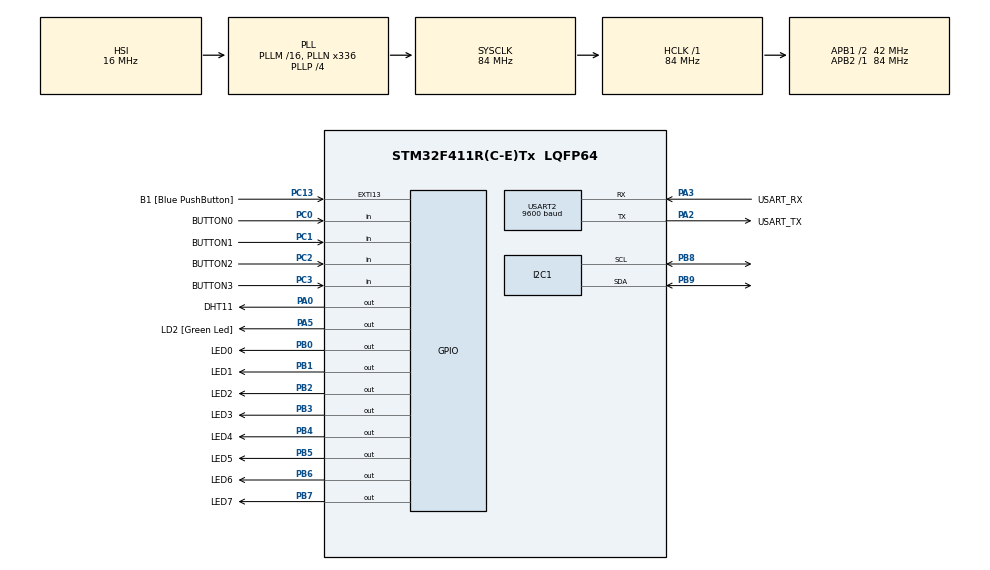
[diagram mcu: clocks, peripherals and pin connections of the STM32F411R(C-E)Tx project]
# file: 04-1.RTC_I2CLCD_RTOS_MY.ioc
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FREERTOS.Tasks01=defaultTask,24,128,StartDefaultTask,Default,NULL,Dynamic,NULL,NULL;myTask01,8,128,StartTask01,Default,NULL,Dynamic,NULL,NULL;myTask02,8,128,StartTask02,Default,NULL,Dynamic,NULL,NULL
FREERTOS.configUSE_NEWLIB_REENTRANT=1
Mcu.Family=STM32F4
Mcu.Name=STM32F411R(C-E)Tx
Mcu.Package=LQFP64
NVIC.PriorityGroup=NVIC_PRIORITYGROUP_4
NVIC.TIM1_TRG_COM_TIM11_IRQn=true\:5\:0\:false\:false\:true\:false\:false\:true
NVIC.TIM1_UP_TIM10_IRQn=true\:5\:0\:false\:false\:true\:true\:true\:true
NVIC.TimeBase=TIM1_TRG_COM_TIM11_IRQn
NVIC.TimeBaseIP=TIM11
NVIC.USART2_IRQn=true\:5\:0\:false\:false\:true\:true\:true\:true
PA0-WKUP.GPIO_Label=DHT11
PA0-WKUP.Signal=GPIO_Output
PA13.GPIO_Label=TMS
PA13.Mode=Serial_Wire
PA13.Signal=SYS_JTMS-SWDIO
PA14.GPIO_Label=TCK
PA14.Mode=Serial_Wire
PA14.Signal=SYS_JTCK-SWCLK
PA2.GPIO_Label=USART_TX
PA2.Mode=Asynchronous
PA2.Signal=USART2_TX
PA3.GPIO_Label=USART_RX
PA3.Mode=Asynchronous
PA3.Signal=USART2_RX
PA5.GPIO_Label=LD2 [Green Led]
PA5.Signal=GPIO_Output
PB0.GPIO_Label=LED0
PB0.Signal=GPIO_Output
PB1.GPIO_Label=LED1
PB1.Signal=GPIO_Output
PB2.GPIO_Label=LED2
PB2.Signal=GPIO_Output
PB3.GPIO_Label=LED3
PB3.Signal=GPIO_Output
PB4.GPIO_Label=LED4
PB4.Signal=GPIO_Output
PB5.GPIO_Label=LED5
PB5.Signal=GPIO_Output
PB6.GPIO_Label=LED6
PB6.Signal=GPIO_Output
PB7.GPIO_Label=LED7
PB7.Signal=GPIO_Output
PB8.Mode=I2C
PB8.Signal=I2C1_SCL
PB9.Mode=I2C
PB9.Signal=I2C1_SDA
PC0.GPIO_Label=BUTTON0
PC0.Signal=GPIO_Input
PC1.GPIO_Label=BUTTON1
PC1.Signal=GPIO_Input
PC13-ANTI_TAMP.GPIO_Label=B1 [Blue PushButton]
PC13-ANTI_TAMP.GPIO_ModeDefaultEXTI=GPIO_MODE_IT_FALLING
PC13-ANTI_TAMP.Signal=GPXTI13
PC14-OSC32_IN.Mode=LSE-External-Oscillator
PC14-OSC32_IN.Signal=RCC_OSC32_IN
PC15-OSC32_OUT.Mode=LSE-External-Oscillator
PC15-OSC32_OUT.Signal=RCC_OSC32_OUT
PC2.GPIO_Label=BUTTON2
PC2.Signal=GPIO_Input
PC3.GPIO_Label=BUTTON3
PC3.Signal=GPIO_Input
PH0\ -\ OSC_IN.Mode=HSE-External-Clock-Source
PH0\ -\ OSC_IN.Signal=RCC_OSC_IN
PH1\ -\ OSC_OUT.Mode=HSE-External-Clock-Source
PH1\ -\ OSC_OUT.Signal=RCC_OSC_OUT
ProjectManager.HeapSize=0x200
ProjectManager.StackSize=0x400
ProjectManager.TargetToolchain=STM32CubeIDE
RCC.48MHZClocksFreq_Value=84000000
RCC.AHBFreq_Value=84000000
RCC.APB1CLKDivider=RCC_HCLK_DIV2
RCC.APB1Freq_Value=42000000
RCC.APB1TimFreq_Value=84000000
RCC.APB2Freq_Value=84000000
RCC.APB2TimFreq_Value=84000000
RCC.CortexFreq_Value=84000000
RCC.FLatency-AdvancedSettings=FLASH_LATENCY_2
RCC.HCLKFreq_Value=84000000
RCC.HSE_VALUE=8000000
RCC.HSI_VALUE=16000000
RCC.PLLN=336
RCC.PLLP=RCC_PLLP_DIV4
RCC.SYSCLKFreq_VALUE=84000000
RCC.SYSCLKSource=RCC_SYSCLKSOURCE_PLLCLK
RCC.VCOOutputFreq_Value=336000000
RTC.Date=8
RTC.Hours=14
RTC.Minutes=37
RTC.Month=RTC_MONTH_OCTOBER
RTC.WeekDay=RTC_WEEKDAY_TUESDAY
RTC.Year=24
TIM10.Period=1000-1
TIM10.Prescaler=84-1
TIM2.Period=4294967295
TIM2.Prescaler=84-1
USART2.BaudRate=9600
USART2.VirtualMode=VM_ASYNC
VP_FREERTOS_VS_CMSIS_V2.Mode=CMSIS_V2
VP_RTC_VS_RTC_Activate.Mode=RTC_Enabled
VP_RTC_VS_RTC_Calendar.Mode=RTC_Calendar
VP_SYS_VS_tim11.Mode=TIM11
VP_TIM10_VS_ClockSourceINT.Mode=Enable_Timer
VP_TIM2_VS_ClockSourceINT.Mode=Internal
board=NUCLEO-F411RE

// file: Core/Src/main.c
/* USER CODE BEGIN Header */
/**
  ******************************************************************************
  * @file           : main.c
  * @brief          : Main program body
  ******************************************************************************
  * @attention
  *
  * <h2><center>&copy; Copyright (c) 2024 STMicroelectronics.
  * All rights reserved.</center></h2>
  *
  * This software component is licensed by ST under BSD 3-Clause license,
  * the "License"; You may not use this file except in compliance with the
  * License. You may obtain a copy of the License at:
  *                        opensource.org/licenses/BSD-3-Clause
  *
  ******************************************************************************
  */
/* USER CODE END Header */
#include "main.h"
#include "cmsis_os.h"

I2C_HandleTypeDef hi2c1;

RTC_HandleTypeDef hrtc;

TIM_HandleTypeDef htim2;
TIM_HandleTypeDef htim10;

UART_HandleTypeDef huart2;

/* Definitions for defaultTask */
osThreadId_t defaultTaskHandle;
const osThreadAttr_t defaultTask_attributes = {
  .name = "defaultTask",
  .stack_size = 128 * 4,
  .priority = (osPriority_t) osPriorityNormal,
};
/* Definitions for myTask01 */
osThreadId_t myTask01Handle;
const osThreadAttr_t myTask01_attributes = {
  .name = "myTask01",
  .stack_size = 128 * 4,
  .priority = (osPriority_t) osPriorityLow,
};
/* Definitions for myTask02 */
osThreadId_t myTask02Handle;
const osThreadAttr_t myTask02_attributes = {
  .name = "myTask02",
  .stack_size = 128 * 4,
  .priority = (osPriority_t) osPriorityLow,
};
/* USER CODE BEGIN PV */
volatile int TIM10_1ms_counter = 0; //ADD_HAESUNG_09.30
volatile int TIM10_1ms_counter1 = 0;
volatile int TIM10_DHT11_counter = 0; // 10.08
uint8_t rx_data;
/* USER CODE END PV */

void SystemClock_Config(void);
static void MX_GPIO_Init(void);
static void MX_USART2_UART_Init(void);
static void MX_TIM10_Init(void);
static void MX_TIM2_Init(void);
static void MX_RTC_Init(void);
static void MX_I2C1_Init(void);
void StartDefaultTask(void *argument);
void StartTask01(void *argument);
void StartTask02(void *argument);

/* USER CODE BEGIN PFP */
extern void led_main(void);
extern void ledbar0_toggle(void);
//extern void button_check(void);
extern void button_check2(void);
extern void button_up(void);
extern void button0_test(void);
extern void button1_test(void);
extern void button2_test(void);
extern void pc_command_processing(void); //10.07
extern void delay_us(unsigned int us); //10.08
extern void DHT11_main(void); //10.08
extern void DHT11_processing(void); //10.08
extern void DHT11_Init(void); //10.08
extern void get_rtc_date_time(void); //10.08
extern void i2c_lcd_main(void); //10.10
extern void i2c_lcd_init(void); //10.10
extern void get_rtc_date_time2(void);
extern void stopwatch(void);
/* USER CODE END PFP */

/* USER CODE BEGIN 0 */
//------------ printf start -----------------------
#ifdef __GNUC__    // Add for printf
/* With GCC, small printf (option LD Linker->Libraries->Small printf
   set to 'Yes') calls __io_putchar() */
#define PUTCHAR_PROTOTYPE int __io_putchar(int ch)
#else
#define PUTCHAR_PROTOTYPE int fputc(int ch, FILE *f)
#endif /* __GNUC__ */
/**
  * @brief  Retargets the C library printf function to the USART.
  * @param  None
  * @retval None
  */
PUTCHAR_PROTOTYPE   // Add for printf
{
  /* Place your implementation of fputc here */
  /* e.g. write a character to the USART2 and Loop until the end of transmission */
  HAL_UART_Transmit(&huart2, (uint8_t *)&ch, 1, 0xFFFF);

  return ch;
}
//-------------------- printf end --------------------
/* USER CODE END 0 */

int main(void)
{

  /* MCU Configuration--------------------------------------------------------*/

  /* Reset of all peripherals, Initializes the Flash interface and the Systick. */
  HAL_Init();

  /* Configure the system clock */
  SystemClock_Config();

  /* Initialize all configured peripherals */
  MX_GPIO_Init();
  MX_USART2_UART_Init();
  MX_TIM10_Init();
  MX_TIM2_Init();
  MX_RTC_Init();
  MX_I2C1_Init();
  /* USER CODE BEGIN 2 */
  HAL_TIM_Base_Start_IT(&htim10); //ADD_HAESUNG_0930
  HAL_TIM_Base_Start_IT(&htim2); //ADD_HAESUNG_1008
  HAL_UART_Receive_IT(&huart2, &rx_data, 1); //ADD_HAESUNG_1007
  DHT11_Init();
  i2c_lcd_init();
  //printf("HAL_TIM_Base_Start_IT !!!!\n");
  //DHT11_main(); //10.08
  //led_main();
  //i2c_lcd_main();
  /* USER CODE END 2 */

  /* Init scheduler */
  osKernelInitialize();

  /* Create the thread(s) */
  /* creation of defaultTask */
  defaultTaskHandle = osThreadNew(StartDefaultTask, NULL, &defaultTask_attributes);

  /* creation of myTask01 */
  myTask01Handle = osThreadNew(StartTask01, NULL, &myTask01_attributes);

  /* creation of myTask02 */
  myTask02Handle = osThreadNew(StartTask02, NULL, &myTask02_attributes);

  /* Start scheduler */
  osKernelStart();

  /* We should never get here as control is now taken by the scheduler */
  /* Infinite loop */
  /* USER CODE BEGIN WHILE */
  while (1)
  {
	  // none-OS loop monitor
	  HAL_GPIO_TogglePin(GPIOA, GPIO_PIN_5);
	  HAL_Delay(500);
    /* USER CODE END WHILE */

  }
}

void SystemClock_Config(void)
{
  RCC_OscInitTypeDef RCC_OscInitStruct = {0};
  RCC_ClkInitTypeDef RCC_ClkInitStruct = {0};

  /** Configure the main internal regulator output voltage
  */
  __HAL_RCC_PWR_CLK_ENABLE();
  __HAL_PWR_VOLTAGESCALING_CONFIG(PWR_REGULATOR_VOLTAGE_SCALE1);
  /** Initializes the RCC Oscillators according to the specified parameters
  * in the RCC_OscInitTypeDef structure.
  */
  RCC_OscInitStruct.OscillatorType = RCC_OSCILLATORTYPE_HSI|RCC_OSCILLATORTYPE_LSI;
  RCC_OscInitStruct.HSIState = RCC_HSI_ON;
  RCC_OscInitStruct.HSICalibrationValue = RCC_HSICALIBRATION_DEFAULT;
  RCC_OscInitStruct.LSIState = RCC_LSI_ON;
  RCC_OscInitStruct.PLL.PLLState = RCC_PLL_ON;
  RCC_OscInitStruct.PLL.PLLSource = RCC_PLLSOURCE_HSI;
  RCC_OscInitStruct.PLL.PLLM = 16;
  RCC_OscInitStruct.PLL.PLLN = 336;
  RCC_OscInitStruct.PLL.PLLP = RCC_PLLP_DIV4;
  RCC_OscInitStruct.PLL.PLLQ = 4;
  if (HAL_RCC_OscConfig(&RCC_OscInitStruct) != HAL_OK)
  {
    Error_Handler();
  }
  /** Initializes the CPU, AHB and APB buses clocks
  */
  RCC_ClkInitStruct.ClockType = RCC_CLOCKTYPE_HCLK|RCC_CLOCKTYPE_SYSCLK
                              |RCC_CLOCKTYPE_PCLK1|RCC_CLOCKTYPE_PCLK2;
  RCC_ClkInitStruct.SYSCLKSource = RCC_SYSCLKSOURCE_PLLCLK;
  RCC_ClkInitStruct.AHBCLKDivider = RCC_SYSCLK_DIV1;
  RCC_ClkInitStruct.APB1CLKDivider = RCC_HCLK_DIV2;
  RCC_ClkInitStruct.APB2CLKDivider = RCC_HCLK_DIV1;

  if (HAL_RCC_ClockConfig(&RCC_ClkInitStruct, FLASH_LATENCY_2) != HAL_OK)
  {
    Error_Handler();
  }
}

static void MX_I2C1_Init(void)
{

  hi2c1.Instance = I2C1;
  hi2c1.Init.ClockSpeed = 100000;
  hi2c1.Init.DutyCycle = I2C_DUTYCYCLE_2;
  hi2c1.Init.OwnAddress1 = 0;
  hi2c1.Init.AddressingMode = I2C_ADDRESSINGMODE_7BIT;
  hi2c1.Init.DualAddressMode = I2C_DUALADDRESS_DISABLE;
  hi2c1.Init.OwnAddress2 = 0;
  hi2c1.Init.GeneralCallMode = I2C_GENERALCALL_DISABLE;
  hi2c1.Init.NoStretchMode = I2C_NOSTRETCH_DISABLE;
  if (HAL_I2C_Init(&hi2c1) != HAL_OK)
  {
    Error_Handler();
  }

}

static void MX_RTC_Init(void)
{

  RTC_TimeTypeDef sTime = {0};
  RTC_DateTypeDef sDate = {0};

  /** Initialize RTC Only
  */
  hrtc.Instance = RTC;
  hrtc.Init.HourFormat = RTC_HOURFORMAT_24;
  hrtc.Init.AsynchPrediv = 127;
  hrtc.Init.SynchPrediv = 255;
  hrtc.Init.OutPut = RTC_OUTPUT_DISABLE;
  hrtc.Init.OutPutPolarity = RTC_OUTPUT_POLARITY_HIGH;
  hrtc.Init.OutPutType = RTC_OUTPUT_TYPE_OPENDRAIN;
  if (HAL_RTC_Init(&hrtc) != HAL_OK)
  {
    Error_Handler();
  }

  /** Initialize RTC and set the Time and Date
  */
  sTime.Hours = 0x14;
  sTime.Minutes = 0x37;
  sTime.Seconds = 0x0;
  sTime.DayLightSaving = RTC_DAYLIGHTSAVING_NONE;
  sTime.StoreOperation = RTC_STOREOPERATION_RESET;
  if (HAL_RTC_SetTime(&hrtc, &sTime, RTC_FORMAT_BCD) != HAL_OK)
  {
    Error_Handler();
  }
  sDate.WeekDay = RTC_WEEKDAY_TUESDAY;
  sDate.Month = RTC_MONTH_OCTOBER;
  sDate.Date = 0x8;
  sDate.Year = 0x24;

  if (HAL_RTC_SetDate(&hrtc, &sDate, RTC_FORMAT_BCD) != HAL_OK)
  {
    Error_Handler();
  }

}

static void MX_TIM2_Init(void)
{

  TIM_ClockConfigTypeDef sClockSourceConfig = {0};
  TIM_MasterConfigTypeDef sMasterConfig = {0};

  htim2.Instance = TIM2;
  htim2.Init.Prescaler = 84-1;
  htim2.Init.CounterMode = TIM_COUNTERMODE_UP;
  htim2.Init.Period = 4294967295;
  htim2.Init.ClockDivision = TIM_CLOCKDIVISION_DIV1;
  htim2.Init.AutoReloadPreload = TIM_AUTORELOAD_PRELOAD_DISABLE;
  if (HAL_TIM_Base_Init(&htim2) != HAL_OK)
  {
    Error_Handler();
  }
  sClockSourceConfig.ClockSource = TIM_CLOCKSOURCE_INTERNAL;
  if (HAL_TIM_ConfigClockSource(&htim2, &sClockSourceConfig) != HAL_OK)
  {
    Error_Handler();
  }
  sMasterConfig.MasterOutputTrigger = TIM_TRGO_RESET;
  sMasterConfig.MasterSlaveMode = TIM_MASTERSLAVEMODE_DISABLE;
  if (HAL_TIMEx_MasterConfigSynchronization(&htim2, &sMasterConfig) != HAL_OK)
  {
    Error_Handler();
  }

}

static void MX_TIM10_Init(void)
{

  htim10.Instance = TIM10;
  htim10.Init.Prescaler = 84-1;
  htim10.Init.CounterMode = TIM_COUNTERMODE_UP;
  htim10.Init.Period = 1000-1;
  htim10.Init.ClockDivision = TIM_CLOCKDIVISION_DIV1;
  htim10.Init.AutoReloadPreload = TIM_AUTORELOAD_PRELOAD_DISABLE;
  if (HAL_TIM_Base_Init(&htim10) != HAL_OK)
  {
    Error_Handler();
  }

}

static void MX_USART2_UART_Init(void)
{

  huart2.Instance = USART2;
  huart2.Init.BaudRate = 9600;
  huart2.Init.WordLength = UART_WORDLENGTH_8B;
  huart2.Init.StopBits = UART_STOPBITS_1;
  huart2.Init.Parity = UART_PARITY_NONE;
  huart2.Init.Mode = UART_MODE_TX_RX;
  huart2.Init.HwFlowCtl = UART_HWCONTROL_NONE;
  huart2.Init.OverSampling = UART_OVERSAMPLING_16;
  if (HAL_UART_Init(&huart2) != HAL_OK)
  {
    Error_Handler();
  }

}

static void MX_GPIO_Init(void)
{
  GPIO_InitTypeDef GPIO_InitStruct = {0};

  /* GPIO Ports Clock Enable */
  __HAL_RCC_GPIOC_CLK_ENABLE();
  __HAL_RCC_GPIOH_CLK_ENABLE();
  __HAL_RCC_GPIOA_CLK_ENABLE();
  __HAL_RCC_GPIOB_CLK_ENABLE();

  /*Configure GPIO pin Output Level */
  HAL_GPIO_WritePin(GPIOA, DHT11_Pin|LD2_Pin, GPIO_PIN_RESET);

  /*Configure GPIO pin Output Level */
  HAL_GPIO_WritePin(GPIOB, LED0_Pin|LED1_Pin|LED2_Pin|LED3_Pin
                          |LED4_Pin|LED5_Pin|LED6_Pin|LED7_Pin, GPIO_PIN_RESET);

  /*Configure GPIO pin : B1_Pin */
  GPIO_InitStruct.Pin = B1_Pin;
  GPIO_InitStruct.Mode = GPIO_MODE_IT_FALLING;
  GPIO_InitStruct.Pull = GPIO_NOPULL;
  HAL_GPIO_Init(B1_GPIO_Port, &GPIO_InitStruct);

  /*Configure GPIO pins : BUTTON0_Pin BUTTON1_Pin BUTTON2_Pin BUTTON3_Pin */
  GPIO_InitStruct.Pin = BUTTON0_Pin|BUTTON1_Pin|BUTTON2_Pin|BUTTON3_Pin;
  GPIO_InitStruct.Mode = GPIO_MODE_INPUT;
  GPIO_InitStruct.Pull = GPIO_NOPULL;
  HAL_GPIO_Init(GPIOC, &GPIO_InitStruct);

  /*Configure GPIO pins : DHT11_Pin LD2_Pin */
  GPIO_InitStruct.Pin = DHT11_Pin|LD2_Pin;
  GPIO_InitStruct.Mode = GPIO_MODE_OUTPUT_PP;
  GPIO_InitStruct.Pull = GPIO_NOPULL;
  GPIO_InitStruct.Speed = GPIO_SPEED_FREQ_LOW;
  HAL_GPIO_Init(GPIOA, &GPIO_InitStruct);

  /*Configure GPIO pins : LED0_Pin LED1_Pin LED2_Pin LED3_Pin
                           LED4_Pin LED5_Pin LED6_Pin LED7_Pin */
  GPIO_InitStruct.Pin = LED0_Pin|LED1_Pin|LED2_Pin|LED3_Pin
                          |LED4_Pin|LED5_Pin|LED6_Pin|LED7_Pin;
  GPIO_InitStruct.Mode = GPIO_MODE_OUTPUT_PP;
  GPIO_InitStruct.Pull = GPIO_NOPULL;
  GPIO_InitStruct.Speed = GPIO_SPEED_FREQ_LOW;
  HAL_GPIO_Init(GPIOB, &GPIO_InitStruct);

}

void StartDefaultTask(void *argument)
{
  /* USER CODE BEGIN 5 */
  /* Infinite loop */
  for(;;)
  {

	//led_main();
	//button0_test();
    osDelay(1);
  }
  /* USER CODE END 5 */
}

void StartTask01(void *argument)
{
  /* USER CODE BEGIN StartTask01 */
  /* Infinite loop */
  for(;;)
  {

	  //DHT11_processing();
	  //get_rtc_date_time();
	  //get_rtc_date_time2();
	  osDelay(1);
	  //	  HAL_GPIO_TogglePin(GPIOA, GPIO_PIN_5);
	  //	  delay_us(50000); //50ms
	  //button1_test();
	  //ledbar0_toggle();
	  //osDelay(200);
  }
  /* USER CODE END StartTask01 */
}

void StartTask02(void *argument)
{
  /* USER CODE BEGIN StartTask02 */
  /* Infinite loop */
  for(;;)
  {
	  //stopwatch();
	  //get_rtc_date_time2();
	  button_check2();
	  osDelay(1);
#if 0
	  if(TIM10_1ms_counter >= 50)
	  {
		  TIM10_1ms_counter = 0 ;
		  HAL_GPIO_TogglePin(GPIOA, GPIO_PIN_5);
	  }
	  //button2_test();
	  pc_command_processing();
	  osDelay(1);
	  //HAL_GPIO_TogglePin(GPIOA, GPIO_PIN_5);
	  //osDelay(100);
  }
#endif
	}
  /* USER CODE END StartTask02 */
}

void HAL_TIM_PeriodElapsedCallback(TIM_HandleTypeDef *htim)
{
  if (htim->Instance == TIM11) {
    HAL_IncTick();
  }
  /* USER CODE BEGIN Callback 1 */
  if (htim->Instance == TIM10) {
	  TIM10_1ms_counter++; //ADD_HAESUNG_0930
	  TIM10_1ms_counter1++;
	  TIM10_DHT11_counter++;
  }

  /* USER CODE END Callback 1 */
}

void Error_Handler(void)
{
  __disable_irq();
  while (1)
  {
  }
}

/************************ (C) COPYRIGHT STMicroelectronics *****END OF FILE****/
